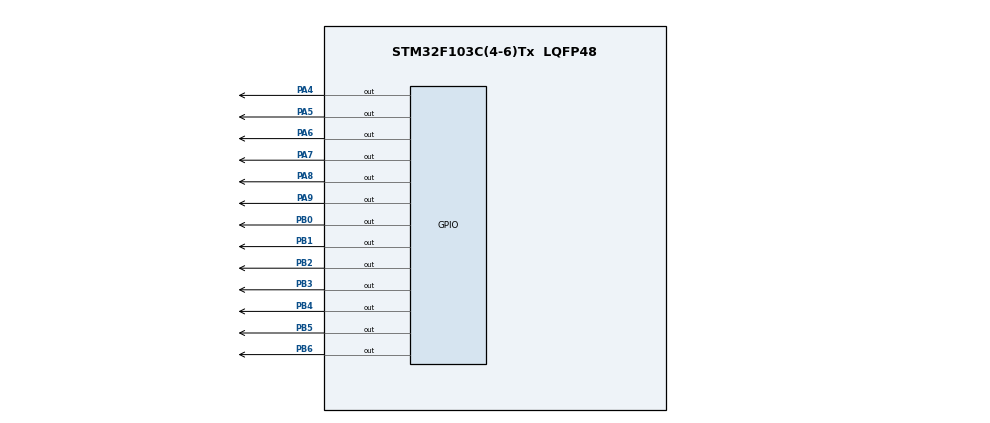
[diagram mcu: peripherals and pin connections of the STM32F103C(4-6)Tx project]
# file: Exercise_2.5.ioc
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Mcu.Family=STM32F1
Mcu.Name=STM32F103C(4-6)Tx
Mcu.Package=LQFP48
NVIC.PriorityGroup=NVIC_PRIORITYGROUP_4
NVIC.TIM2_IRQn=true\:0\:0\:false\:false\:true\:true\:true\:true
PA4.Signal=GPIO_Output
PA5.Signal=GPIO_Output
PA6.Signal=GPIO_Output
PA7.Signal=GPIO_Output
PA8.Signal=GPIO_Output
PA9.Signal=GPIO_Output
PB0.Signal=GPIO_Output
PB1.Signal=GPIO_Output
PB2.Signal=GPIO_Output
PB3.Signal=GPIO_Output
PB4.Signal=GPIO_Output
PB5.Signal=GPIO_Output
PB6.Signal=GPIO_Output
ProjectManager.HeapSize=0x200
ProjectManager.StackSize=0x400
ProjectManager.TargetToolchain=STM32CubeIDE
RCC.APB1Freq_Value=8000000
RCC.APB2Freq_Value=8000000
TIM2.Prescaler=7999
VP_SYS_VS_ND.Mode=No_Debug
VP_TIM2_VS_ClockSourceINT.Mode=Internal
board=custom

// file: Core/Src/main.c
/* USER CODE BEGIN Header */
/**
  ******************************************************************************
  * @file           : main.c
  * @brief          : Main program body
  ******************************************************************************
  * @attention
  *
  * Copyright (c) 2025 STMicroelectronics.
  * All rights reserved.
  *
  * This software is licensed under terms that can be found in the LICENSE file
  * in the root directory of this software component.
  * If no LICENSE file comes with this software, it is provided AS-IS.
  *
  ******************************************************************************
  */
/* USER CODE END Header */
#include "main.h"
#include <software_timer.h>

/* USER CODE BEGIN PTD */
void number(int n);
void update7SEG(int index);
void updateClockBuffer();
/* USER CODE END PTD */

TIM_HandleTypeDef htim2;

void SystemClock_Config(void);
static void MX_GPIO_Init(void);
static void MX_TIM2_Init(void);

/* USER CODE BEGIN 0 */
const int MAX_LED = 4;
int index_led = 0;
int led_buffer[4];
int hour = 15, minute = 8, second = 50;

void updateClockBuffer(){
	led_buffer[0] = hour/10;
	led_buffer[1] = hour%10;
	led_buffer[2] = minute/10;
	led_buffer[3] = minute%10;
}
/* USER CODE END 0 */

int main(void)
{

  /* MCU Configuration--------------------------------------------------------*/

  /* Reset of all peripherals, Initializes the Flash interface and the Systick. */
  HAL_Init();

  /* Configure the system clock */
  SystemClock_Config();

  /* Initialize all configured peripherals */
  MX_GPIO_Init();
  MX_TIM2_Init();
  /* USER CODE BEGIN 2 */
  HAL_TIM_Base_Start_IT(&htim2);
  /* USER CODE END 2 */

  /* Infinite loop */
  /* USER CODE BEGIN WHILE */
  updateClockBuffer();
  setTimer1(100);
  setTimer2(25);
  while (1)
  {
	  second++;
	  if(second >= 60){
		  second = 0;
		  minute++;
	  }
	  if(minute >= 60){
		  minute = 0;
		  hour++;
	  }
	  if(hour >= 24){
		  hour = 0;
	  }
	  updateClockBuffer();
	  HAL_Delay(1000);
    /* USER CODE END WHILE */

  }
}

void SystemClock_Config(void)
{
  RCC_OscInitTypeDef RCC_OscInitStruct = {0};
  RCC_ClkInitTypeDef RCC_ClkInitStruct = {0};

  /** Initializes the RCC Oscillators according to the specified parameters
  * in the RCC_OscInitTypeDef structure.
  */
  RCC_OscInitStruct.OscillatorType = RCC_OSCILLATORTYPE_HSI;
  RCC_OscInitStruct.HSIState = RCC_HSI_ON;
  RCC_OscInitStruct.HSICalibrationValue = RCC_HSICALIBRATION_DEFAULT;
  RCC_OscInitStruct.PLL.PLLState = RCC_PLL_NONE;
  if (HAL_RCC_OscConfig(&RCC_OscInitStruct) != HAL_OK)
  {
    Error_Handler();
  }

  /** Initializes the CPU, AHB and APB buses clocks
  */
  RCC_ClkInitStruct.ClockType = RCC_CLOCKTYPE_HCLK|RCC_CLOCKTYPE_SYSCLK
                              |RCC_CLOCKTYPE_PCLK1|RCC_CLOCKTYPE_PCLK2;
  RCC_ClkInitStruct.SYSCLKSource = RCC_SYSCLKSOURCE_HSI;
  RCC_ClkInitStruct.AHBCLKDivider = RCC_SYSCLK_DIV1;
  RCC_ClkInitStruct.APB1CLKDivider = RCC_HCLK_DIV1;
  RCC_ClkInitStruct.APB2CLKDivider = RCC_HCLK_DIV1;

  if (HAL_RCC_ClockConfig(&RCC_ClkInitStruct, FLASH_LATENCY_0) != HAL_OK)
  {
    Error_Handler();
  }
}

static void MX_TIM2_Init(void)
{

  TIM_ClockConfigTypeDef sClockSourceConfig = {0};
  TIM_MasterConfigTypeDef sMasterConfig = {0};

  htim2.Instance = TIM2;
  htim2.Init.Prescaler = 7999;
  htim2.Init.CounterMode = TIM_COUNTERMODE_UP;
  htim2.Init.Period = 9;
  htim2.Init.ClockDivision = TIM_CLOCKDIVISION_DIV1;
  htim2.Init.AutoReloadPreload = TIM_AUTORELOAD_PRELOAD_DISABLE;
  if (HAL_TIM_Base_Init(&htim2) != HAL_OK)
  {
    Error_Handler();
  }
  sClockSourceConfig.ClockSource = TIM_CLOCKSOURCE_INTERNAL;
  if (HAL_TIM_ConfigClockSource(&htim2, &sClockSourceConfig) != HAL_OK)
  {
    Error_Handler();
  }
  sMasterConfig.MasterOutputTrigger = TIM_TRGO_RESET;
  sMasterConfig.MasterSlaveMode = TIM_MASTERSLAVEMODE_DISABLE;
  if (HAL_TIMEx_MasterConfigSynchronization(&htim2, &sMasterConfig) != HAL_OK)
  {
    Error_Handler();
  }

}

static void MX_GPIO_Init(void)
{
  GPIO_InitTypeDef GPIO_InitStruct = {0};

  /* GPIO Ports Clock Enable */
  __HAL_RCC_GPIOA_CLK_ENABLE();
  __HAL_RCC_GPIOB_CLK_ENABLE();

  /*Configure GPIO pin Output Level */
  HAL_GPIO_WritePin(GPIOA, GPIO_PIN_4|GPIO_PIN_5|GPIO_PIN_6|GPIO_PIN_7
                          |GPIO_PIN_8|GPIO_PIN_9, GPIO_PIN_SET);

  /*Configure GPIO pin Output Level */
  HAL_GPIO_WritePin(GPIOB, GPIO_PIN_0|GPIO_PIN_1|GPIO_PIN_2|GPIO_PIN_3
                          |GPIO_PIN_4|GPIO_PIN_5|GPIO_PIN_6, GPIO_PIN_SET);

  /*Configure GPIO pins : PA4 PA5 PA6 PA7
                           PA8 PA9 */
  GPIO_InitStruct.Pin = GPIO_PIN_4|GPIO_PIN_5|GPIO_PIN_6|GPIO_PIN_7
                          |GPIO_PIN_8|GPIO_PIN_9;
  GPIO_InitStruct.Mode = GPIO_MODE_OUTPUT_PP;
  GPIO_InitStruct.Pull = GPIO_NOPULL;
  GPIO_InitStruct.Speed = GPIO_SPEED_FREQ_LOW;
  HAL_GPIO_Init(GPIOA, &GPIO_InitStruct);

  /*Configure GPIO pins : PB0 PB1 PB2 PB3
                           PB4 PB5 PB6 */
  GPIO_InitStruct.Pin = GPIO_PIN_0|GPIO_PIN_1|GPIO_PIN_2|GPIO_PIN_3
                          |GPIO_PIN_4|GPIO_PIN_5|GPIO_PIN_6;
  GPIO_InitStruct.Mode = GPIO_MODE_OUTPUT_PP;
  GPIO_InitStruct.Pull = GPIO_NOPULL;
  GPIO_InitStruct.Speed = GPIO_SPEED_FREQ_LOW;
  HAL_GPIO_Init(GPIOB, &GPIO_InitStruct);

}

/* USER CODE BEGIN 4 */
uint8_t segment_code[10] = {0x3F, 0x06, 0x5B, 0x4F, 0x66,
                            0x6D, 0x7D, 0x07, 0x7F, 0x6F};

void number(int n){
    uint8_t code = segment_code[n];
    GPIOB->ODR = ~code;
}

void update7SEG(int index){
	switch(index){
		case 0:
			HAL_GPIO_WritePin(GPIOA, GPIO_PIN_7|GPIO_PIN_8|GPIO_PIN_9, GPIO_PIN_SET);
			HAL_GPIO_WritePin(GPIOA, GPIO_PIN_6, GPIO_PIN_RESET);
			number(led_buffer[index]);
			break;
		case 1:
			HAL_GPIO_WritePin(GPIOA, GPIO_PIN_6|GPIO_PIN_8|GPIO_PIN_9, GPIO_PIN_SET);
			HAL_GPIO_WritePin(GPIOA, GPIO_PIN_7, GPIO_PIN_RESET);
			number(led_buffer[index]);
			break;
		case 2:
			HAL_GPIO_WritePin(GPIOA, GPIO_PIN_6|GPIO_PIN_7|GPIO_PIN_9, GPIO_PIN_SET);
			HAL_GPIO_WritePin(GPIOA, GPIO_PIN_8, GPIO_PIN_RESET);
			number(led_buffer[index]);
			break;
		case 3:
			HAL_GPIO_WritePin(GPIOA, GPIO_PIN_6|GPIO_PIN_7|GPIO_PIN_8, GPIO_PIN_SET);
			HAL_GPIO_WritePin(GPIOA, GPIO_PIN_9, GPIO_PIN_RESET);
			number(led_buffer[index]);
			break;
		default:
			break;
	}
}

int counter1 = 100;
int counter2 = 25;
void HAL_TIM_PeriodElapsedCallback(TIM_HandleTypeDef *htim){
	counter1--;
	counter2--;
	if(counter1 <= 0){
		counter1 = 100;
		HAL_GPIO_TogglePin(GPIOA, GPIO_PIN_5);
		HAL_GPIO_TogglePin(GPIOA, GPIO_PIN_4);
	}
	if(counter2 <= 0){
		counter2 = 25;
		update7SEG(index_led);
		index_led++;
		if(index_led >= MAX_LED){
			index_led = 0;
		}
	}
}
/* USER CODE END 4 */

void Error_Handler(void)
{
  __disable_irq();
  while (1)
  {
  }
}
